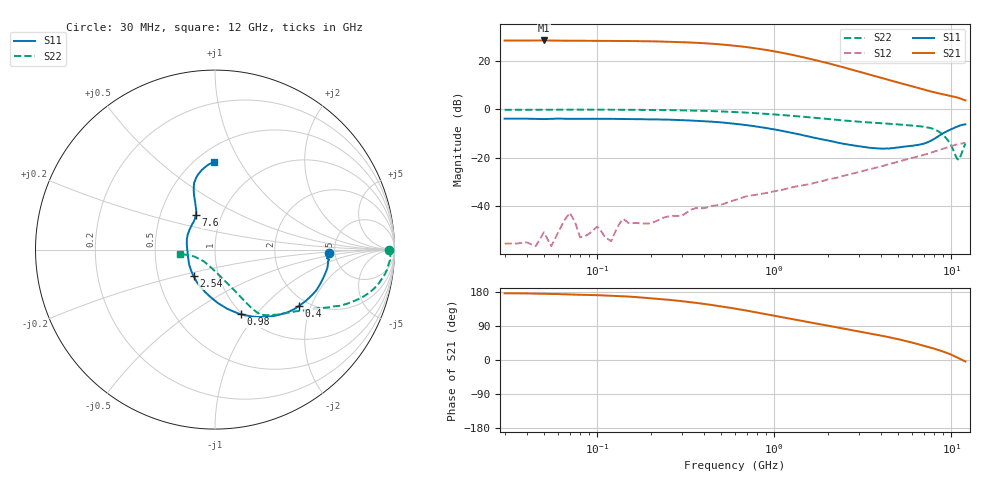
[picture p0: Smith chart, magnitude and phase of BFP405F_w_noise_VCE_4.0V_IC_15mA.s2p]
! Infineon Technologies  Discrete & RF Semiconductors
! BFP405F
! VCE =  4.0 V,  IC =  15 mA
! Common Emitter S-Parameters:  Nov 2015
# GHz  S  MA  R  50
!  f  S11  S21  S12  S22
! GHz  MAG  ANG  MAG  ANG  MAG  ANG  MAG  ANG
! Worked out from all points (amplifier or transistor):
!   239 points, 30 MHz to 12 GHz, reference 50 ohm
!   highest |S21| = 28.3 dB at 50 MHz (marker M1)
!   |S21| within 3 dB of that: start of sweep to 743 MHz
!   unconditionally stable (mu >= 1): 44.71 MHz to 45.19 MHz; 2.045 GHz to end of sweep
!   at 300 MHz: K = 0.35, MSG = 35.8 dB, |S12| = -44.0 dB
!   at 1.88 GHz: K = 0.97, MSG = 24.5 dB, |S12| = -29.6 dB
!   at 12 GHz: K = 1.37, MAG = 5.1 dB, |S12| = -13.9 dB
!   lowest NFmin = 1.97 dB at 450 MHz
!   S11 on the Smith chart (normalised r, x): 30 MHz: 4.47, -0.30; 400 MHz: 1.80, -1.65; 980 MHz: 0.99, -0.84; 2.54 GHz: 0.76, -0.23; 7.6 GHz: 0.75, +0.30; 12 GHz: 0.61, +0.78
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0.03  0.636 -1.8  25.98 176.1  0.0017 66.4  0.9695 -0.2
0.05  0.6249 -4.4  26.08 174.5  0.0029 -43.9  0.974 -1.2
0.055  0.6317 -4.7  25.95 174.3  0.0015 11.8  0.9762 -1.3
0.07  0.6322 -6.1  25.77 172.8  0.0073 81.8  0.9768 -2.0
0.085  0.6342 -7.2  25.67 171.9  0.0024 77.4  0.9763 -2.5
0.12  0.6318 -10.6  25.46 169.7  0.0019 68.8  0.9763 -3.7
0.14  0.6292 -12.3  25.45 168.2  0.0055 105.8  0.9727 -4.4
0.195  0.6184 -17.2  25.15 163.4  0.0044 96.8  0.9653 -6.5
0.24  0.6105 -21.0  24.65 160.0  0.0059 87.3  0.9586 -7.9
0.3  0.5946 -25.7  24.1 155.3  0.0063 74.7  0.9456 -9.7
0.4  0.5645 -33.7  22.92 148.1  0.0091 79.0  0.9252 -12.5
0.6  0.5001 -47.4  20.28 135.5  0.0134 75.8  0.8732 -17.1
0.8  0.4373 -59.1  17.74 125.2  0.0174 71.9  0.8231 -20.5
0.98  0.388 -68.1  15.76 117.6  0.02 72.5  0.783 -23.0
1.3  0.3154 -82.5  12.89 106.7  0.0252 70.8  0.7229 -26.3
1.64  0.2637 -96.0  10.63 98.1  0.0294 70.7  0.6719 -29.0
2.1  0.2183 -113.8  8.499 88.8  0.0369 69.2  0.6182 -33.0
2.54  0.19 -129.0  7.048 81.8  0.0436 68.8  0.5797 -36.2
4.5  0.1561 176.6  3.936 59.7  0.074 63.2  0.4996 -46.6
7.6  0.2199 119.0  2.334 33.0  0.1255 50.8  0.4091 -56.7
11  0.4505 99.3  1.706 4.4  0.1915 31.1  0.0902 -133.4
12  0.4866 90.9  1.516 -3.8  0.2027 25.3  0.1958 -172.8
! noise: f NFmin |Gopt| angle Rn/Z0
0.45  1.97  0.11  2  0.35
0.9  1.99  0.1  4  0.33
1.5  2.03  0.08  8  0.23
1.9  2.09  0.06  10  0.28
2.4  2.24  0.04  13  0.42
3  2.32  0.03  6  0.36
3.5  2.38  0.01  -46  0.48
4.5  2.58  0.08  -93  0.25
5.5  2.83  0.16  -88  0.1
